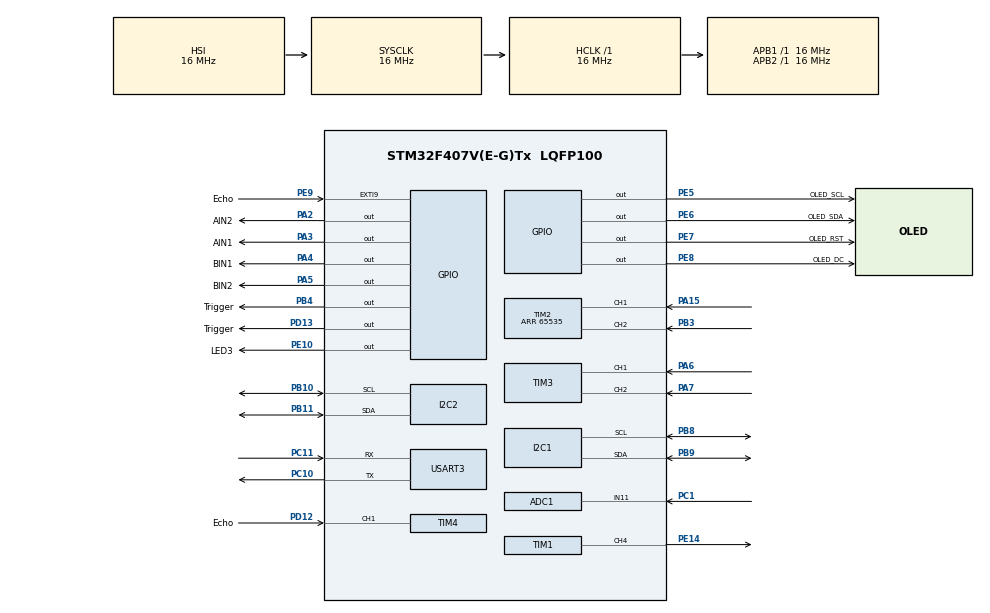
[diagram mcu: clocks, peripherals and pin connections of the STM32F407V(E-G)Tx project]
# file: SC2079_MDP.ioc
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ADC1.Channel-0\#ChannelRegularConversion=ADC_CHANNEL_11
ADC1.Channel-1\#ChannelRegularConversion=ADC_CHANNEL_12
ADC1.ContinuousConvMode=ENABLE
ADC1.NbrOfConversion=2
ADC1.NbrOfConversionFlag=1
ADC1.Rank-0\#ChannelRegularConversion=1
ADC1.Rank-1\#ChannelRegularConversion=2
ADC1.SamplingTime-0\#ChannelRegularConversion=ADC_SAMPLETIME_3CYCLES
ADC1.SamplingTime-1\#ChannelRegularConversion=ADC_SAMPLETIME_3CYCLES
ADC1.master=1
Dma.ADC1.1.Direction=DMA_PERIPH_TO_MEMORY
Dma.ADC1.1.FIFOMode=DMA_FIFOMODE_DISABLE
Dma.ADC1.1.Instance=DMA2_Stream0
Dma.ADC1.1.MemDataAlignment=DMA_MDATAALIGN_HALFWORD
Dma.ADC1.1.MemInc=DMA_MINC_ENABLE
Dma.ADC1.1.Mode=DMA_NORMAL
Dma.ADC1.1.PeriphDataAlignment=DMA_PDATAALIGN_HALFWORD
Dma.ADC1.1.PeriphInc=DMA_PINC_DISABLE
Dma.ADC1.1.Priority=DMA_PRIORITY_LOW
Dma.I2C1_RX.0.Direction=DMA_PERIPH_TO_MEMORY
Dma.I2C1_RX.0.FIFOMode=DMA_FIFOMODE_DISABLE
Dma.I2C1_RX.0.Instance=DMA1_Stream0
Dma.I2C1_RX.0.MemDataAlignment=DMA_MDATAALIGN_BYTE
Dma.I2C1_RX.0.MemInc=DMA_MINC_ENABLE
Dma.I2C1_RX.0.Mode=DMA_NORMAL
Dma.I2C1_RX.0.PeriphDataAlignment=DMA_PDATAALIGN_BYTE
Dma.I2C1_RX.0.PeriphInc=DMA_PINC_DISABLE
Dma.I2C1_RX.0.Priority=DMA_PRIORITY_LOW
Dma.Request0=I2C1_RX
Dma.Request1=ADC1
FREERTOS.Tasks01=defaultTask,24,128,StartDefaultTask,Default,NULL,Dynamic,NULL,NULL;MotorTask,8,512,motor,Default,NULL,Dynamic,NULL,NULL;EncoderTask,8,512,encoder,Default,NULL,Dynamic,NULL,NULL;GyroTask,8,512,Gyro,Default,NULL,Dynamic,NULL,NULL
I2C1.I2C_Mode=I2C_Fast
Mcu.Family=STM32F4
Mcu.Name=STM32F407V(E-G)Tx
Mcu.Package=LQFP100
NVIC.DMA1_Stream0_IRQn=true\:5\:0\:false\:false\:true\:true\:false\:true\:true
NVIC.DMA2_Stream0_IRQn=true\:5\:0\:false\:false\:true\:true\:false\:true\:true
NVIC.PriorityGroup=NVIC_PRIORITYGROUP_4
NVIC.RCC_IRQn=true\:5\:0\:false\:false\:true\:true\:true\:false\:true
NVIC.TIM4_IRQn=true\:5\:0\:false\:false\:true\:true\:true\:true\:true
NVIC.USART3_IRQn=true\:5\:0\:false\:false\:true\:true\:true\:true\:true
PA15.Signal=S_TIM2_CH1_ETR
PA2.GPIO_Label=AIN2
PA2.GPIO_Speed=GPIO_SPEED_FREQ_HIGH
PA2.Signal=GPIO_Output
PA3.GPIO_Label=AIN1
PA3.GPIO_Speed=GPIO_SPEED_FREQ_HIGH
PA3.Signal=GPIO_Output
PA4.GPIO_Label=BIN1
PA4.GPIO_Speed=GPIO_SPEED_FREQ_HIGH
PA4.Signal=GPIO_Output
PA5.GPIO_Label=BIN2
PA5.GPIO_Speed=GPIO_SPEED_FREQ_HIGH
PA5.Signal=GPIO_Output
PA6.Signal=S_TIM3_CH1
PA7.Signal=S_TIM3_CH2
PB10.Mode=I2C
PB10.Signal=I2C2_SCL
PB11.Mode=I2C
PB11.Signal=I2C2_SDA
PB3.Signal=S_TIM2_CH2
PB4.GPIO_Label=Trigger
PB4.Signal=GPIO_Output
PB8.GPIO_Pu=GPIO_PULLUP
PB8.Mode=I2C
PB8.Signal=I2C1_SCL
PB9.GPIO_Pu=GPIO_PULLUP
PB9.Mode=I2C
PB9.Signal=I2C1_SDA
PC1.Signal=ADCx_IN11
PC10.Mode=Asynchronous
PC10.Signal=USART3_TX
PC11.Mode=Asynchronous
PC11.Signal=USART3_RX
PC2.Signal=ADCx_IN12
PC6.GPIO_Label=PWMA
PC6.Signal=S_TIM8_CH1
PC7.GPIO_Label=PWMB
PC7.Signal=S_TIM8_CH2
PD12.GPIO_Label=Echo
PD12.Signal=S_TIM4_CH1
PD13.GPIO_Label=Trigger
PD13.Signal=GPIO_Output
PE10.GPIO_Label=LED3
PE10.Signal=GPIO_Output
PE14.Signal=S_TIM1_CH4
PE5.GPIO_Label=OLED_SCL
PE5.Signal=GPIO_Output
PE6.GPIO_Label=OLED_SDA
PE6.Signal=GPIO_Output
PE7.GPIO_Label=OLED_RST
PE7.Signal=GPIO_Output
PE8.GPIO_Label=OLED_DC
PE8.Signal=GPIO_Output
PE9.GPIO_Label=Echo
PE9.Signal=GPXTI9
PH0-OSC_IN.Mode=HSE-External-Oscillator
PH0-OSC_IN.Signal=RCC_OSC_IN
PH1-OSC_OUT.Mode=HSE-External-Oscillator
PH1-OSC_OUT.Signal=RCC_OSC_OUT
ProjectManager.HeapSize=0x200
ProjectManager.StackSize=0x400
ProjectManager.TargetToolchain=STM32CubeIDE
RCC.AHBFreq_Value=16000000
RCC.APB1Freq_Value=16000000
RCC.APB1TimFreq_Value=16000000
RCC.APB2Freq_Value=16000000
RCC.APB2TimFreq_Value=16000000
RCC.CortexFreq_Value=16000000
RCC.HCLKFreq_Value=16000000
RCC.HSE_VALUE=25000000
RCC.HSI_VALUE=16000000
RCC.LSE_VALUE=32768
RCC.SYSCLKFreq_VALUE=16000000
RCC.VCOOutputFreq_Value=192000000
SH.ADCx_IN11.0=ADC1_IN11,IN11
SH.ADCx_IN12.0=ADC1_IN12
SH.S_TIM1_CH4.0=TIM1_CH4,PWM Generation4 CH4
SH.S_TIM2_CH1_ETR.0=TIM2_CH1,Encoder_Interface
SH.S_TIM2_CH2.0=TIM2_CH2,Encoder_Interface
SH.S_TIM3_CH1.0=TIM3_CH1,Encoder_Interface
SH.S_TIM3_CH2.0=TIM3_CH2,Encoder_Interface
SH.S_TIM4_CH1.0=TIM4_CH1,Input_Capture1_from_TI1
SH.S_TIM8_CH1.0=TIM8_CH1
SH.S_TIM8_CH2.0=TIM8_CH2
TIM1.Channel-PWM\ Generation4\ CH4=TIM_CHANNEL_4
TIM1.Prescaler=160
TIM2.EncoderMode=TIM_ENCODERMODE_TI12
TIM2.IC1Filter=10
TIM2.IC2Filter=10
TIM2.Period=65535
TIM3.EncoderMode=TIM_ENCODERMODE_TI12
TIM3.IC1Filter=10
TIM3.IC2Filter=10
TIM4.Channel-Input_Capture1_from_TI1=TIM_CHANNEL_1
TIM4.Prescaler=72-1
TIM8.Channel-PWM\ Generation1\ No\ Output=TIM_CHANNEL_1
TIM8.Channel-PWM\ Generation2\ No\ Output=TIM_CHANNEL_2
TIM8.Period=7199
USART3.VirtualMode=VM_ASYNC
VP_FREERTOS_VS_CMSIS_V2.Mode=CMSIS_V2
VP_TIM6_VS_ClockSourceINT.Mode=Enable_Timer
VP_TIM8_VS_ClockSourceINT.Mode=Internal
VP_TIM8_VS_no_output1.Mode=PWM Generation1 No Output
VP_TIM8_VS_no_output2.Mode=PWM Generation2 No Output
board=custom

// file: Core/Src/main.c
/* USER CODE BEGIN Header */
/**
  ******************************************************************************
  * @file           : main.c
  * @brief          : Main program body
  ******************************************************************************
  * @attention
  *
  * Copyright (c) 2024 STMicroelectronics.
  * All rights reserved.
  *
  * This software is licensed under terms that can be found in the LICENSE file
  * in the root directory of this software component.
  * If no LICENSE file comes with this software, it is provided AS-IS.
  *
  ******************************************************************************
  */
/* USER CODE END Header */
#include "main.h"
#include "cmsis_os.h"

/* USER CODE BEGIN Includes */
#include "oled.h"
#include "math.h"

/* USER CODE END Includes */

/* USER CODE BEGIN PD */

/// Movement controls ///
#define RPM_LEFT 3500
#define RPM_RIGHT 3500

// Voltage for IR
#define ADC_REF 3.3

// Resolution for IR
#define ADC_STEPS 4096
volatile uint8_t motionCommand = 0;
volatile uint8_t dirCommand = 0;
volatile uint8_t distCommand = 0;
volatile uint8_t commandReceivedFlag = 0;
typedef struct{
	I2C_HandleTypeDef *i2cHandle;
	UART_HandleTypeDef *uart;
	int16_t gyro;
	float gyroYaw;
}IMU_Data;
IMU_Data imu;

/* USER CODE END PD */

/* USER CODE BEGIN PM */
I2C_HandleTypeDef hi2c1;
/* USER CODE END PM */

ADC_HandleTypeDef hadc1;
DMA_HandleTypeDef hdma_adc1;

I2C_HandleTypeDef hi2c1;
I2C_HandleTypeDef hi2c2;
DMA_HandleTypeDef hdma_i2c1_rx;

TIM_HandleTypeDef htim1;
TIM_HandleTypeDef htim2;
TIM_HandleTypeDef htim3;
TIM_HandleTypeDef htim4;
TIM_HandleTypeDef htim6;
TIM_HandleTypeDef htim8;

UART_HandleTypeDef huart3;

/* Definitions for defaultTask */
osThreadId_t defaultTaskHandle;
const osThreadAttr_t defaultTask_attributes = {
  .name = "defaultTask",
  .stack_size = 128 * 4,
  .priority = (osPriority_t) osPriorityNormal,
};
/* Definitions for MotorTask */
osThreadId_t MotorTaskHandle;
const osThreadAttr_t MotorTask_attributes = {
  .name = "MotorTask",
  .stack_size = 512 * 4,
  .priority = (osPriority_t) osPriorityLow,
};
/* Definitions for EncoderTask */
osThreadId_t EncoderTaskHandle;
const osThreadAttr_t EncoderTask_attributes = {
  .name = "EncoderTask",
  .stack_size = 512 * 4,
  .priority = (osPriority_t) osPriorityLow,
};
/* Definitions for GyroTask */
osThreadId_t GyroTaskHandle;
const osThreadAttr_t GyroTask_attributes = {
  .name = "GyroTask",
  .stack_size = 512 * 4,
  .priority = (osPriority_t) osPriorityLow,
};
/* USER CODE BEGIN PV */
// Comms
uint8_t uartRxBuffer[5]; // UART receive buffer
uint8_t oledBuffer[20]; // Gyro receive buffer

osMessageQueueId_t motorCommandQueueHandle;
const osMessageQueueAttr_t motorCommandQueue_attributes = {
  .name = "motorCommandQueue"
};

/* USER CODE END PV */

void SystemClock_Config(void);
static void MX_GPIO_Init(void);
static void MX_DMA_Init(void);
static void MX_TIM8_Init(void);
static void MX_TIM2_Init(void);
static void MX_TIM3_Init(void);
static void MX_TIM1_Init(void);
static void MX_TIM6_Init(void);
static void MX_USART3_UART_Init(void);
static void MX_I2C1_Init(void);
static void MX_I2C2_Init(void);
static void MX_TIM4_Init(void);
static void MX_ADC1_Init(void);
void StartDefaultTask(void *argument);
void motor(void *argument);
void encoder(void *argument);
void Gyro(void *argument);

/* USER CODE BEGIN PFP */
float adjustServoToCenter(float, float);

// For IMU and gyro
HAL_StatusTypeDef ret;
HAL_StatusTypeDef IMU_WriteOneByte(IMU_Data *dev, uint8_t reg, uint8_t data);
HAL_StatusTypeDef IMU_ReadOneByte(IMU_Data *dev, uint8_t reg, uint8_t *data);
uint8_t * IMU_Initialise(IMU_Data *dev, I2C_HandleTypeDef *i2cHandle, UART_HandleTypeDef *uart);
float yawAngle = 0;
volatile uint8_t dma_transfer_complete = 0;
uint8_t rawData[2];

/* USER CODE END PFP */

/* USER CODE BEGIN 0 */

// For Ultrasonic
uint32_t IC_Val1 = 0;
uint32_t IC_Val2 = 0;
uint32_t echo = 0;	// For storing the echo pulse duration
uint8_t Is_First_Captured = 0;  // is the first value captured ? A flag to ensure that both cases are accounted for
uint32_t Distance  = 0;	// For storing the distance

// For Motor
int initialPwmValue = 0;
int encoderL = 0, encoderR = 0;
int pwmValL = 0;
int pwmValR = 0;

// Directions
uint16_t pwmVal_servo = 139;

// Gyro
uint8_t ICMAddress = 0x68;

// imu registers
#define GYRO_ZOUT_H 0x37
#define GYRO_ZOUT_L 0x38
#define REG_BANK_SEL 0x7F
#define IMU_ADDR	(0x68 << 1)
#define GYRO_CONFIG_1	(0x01)
#define GYRO_CONFIG_2  (0x02)
#define ACCEL_CONFIG	(0x14)
#define ACCEL_CONFIG_2  (0x15)
#define PWR_MGMT_1 0x06
#define PWR_MGMT_2	0x07
#define LP_CONFIG	0x05
#define REG_WHO_AM_I 0x00
#define USER_CTRL  0x03
#define GYRO_SMPLRT_DIV 0x00
static uint32_t time_elapsed = 0x00;
static uint32_t prev_time_elapsed = 0x00;
static uint32_t time_difference = 0x00;
int16_t Data;
float targetAngle = 90.0;

// IR Sensor
volatile uint16_t adcResult[20];
volatile uint16_t ir_left;
volatile uint16_t ir_right;

/* USER CODE END 0 */

int main(void)
{
  /* USER CODE BEGIN 1 */
//	uint8_t hello[20] = "Hello World!\0";
//	int dist = 0;	// For storing the distance

  /* USER CODE END 1 */

  /* MCU Configuration--------------------------------------------------------*/

  /* Reset of all peripherals, Initializes the Flash interface and the Systick. */
  HAL_Init();

  /* Configure the system clock */
  SystemClock_Config();

  /* Initialize all configured peripherals */
  MX_GPIO_Init();
  MX_DMA_Init();
  MX_TIM8_Init();
  MX_TIM2_Init();
  MX_TIM3_Init();
  MX_TIM1_Init();
  MX_TIM6_Init();
  MX_USART3_UART_Init();
  MX_I2C1_Init();
  MX_I2C2_Init();
  MX_TIM4_Init();
  MX_ADC1_Init();
  /* USER CODE BEGIN 2 */
  OLED_Init();
  /* USER CODE END 2 */

  /* Init scheduler */
  osKernelInitialize();

  /* Create the thread(s) */
  /* creation of defaultTask */
  defaultTaskHandle = osThreadNew(StartDefaultTask, NULL, &defaultTask_attributes);

  /* creation of MotorTask */
  MotorTaskHandle = osThreadNew(motor, NULL, &MotorTask_attributes);

  /* creation of EncoderTask */
  EncoderTaskHandle = osThreadNew(encoder, NULL, &EncoderTask_attributes);

  /* creation of GyroTask */
  GyroTaskHandle = osThreadNew(Gyro, NULL, &GyroTask_attributes);

  /* Start scheduler */
  osKernelStart();

  /* We should never get here as control is now taken by the scheduler */
  /* Infinite loop */
  while (1)
  {

  }
}

void SystemClock_Config(void)
{
  RCC_OscInitTypeDef RCC_OscInitStruct = {0};
  RCC_ClkInitTypeDef RCC_ClkInitStruct = {0};

  /** Configure the main internal regulator output voltage
  */
  __HAL_RCC_PWR_CLK_ENABLE();
  __HAL_PWR_VOLTAGESCALING_CONFIG(PWR_REGULATOR_VOLTAGE_SCALE1);

  /** Initializes the RCC Oscillators according to the specified parameters
  * in the RCC_OscInitTypeDef structure.
  */
  RCC_OscInitStruct.OscillatorType = RCC_OSCILLATORTYPE_HSI;
  RCC_OscInitStruct.HSIState = RCC_HSI_ON;
  RCC_OscInitStruct.HSICalibrationValue = RCC_HSICALIBRATION_DEFAULT;
  RCC_OscInitStruct.PLL.PLLState = RCC_PLL_NONE;
  if (HAL_RCC_OscConfig(&RCC_OscInitStruct) != HAL_OK)
  {
    Error_Handler();
  }

  /** Initializes the CPU, AHB and APB buses clocks
  */
  RCC_ClkInitStruct.ClockType = RCC_CLOCKTYPE_HCLK|RCC_CLOCKTYPE_SYSCLK
                              |RCC_CLOCKTYPE_PCLK1|RCC_CLOCKTYPE_PCLK2;
  RCC_ClkInitStruct.SYSCLKSource = RCC_SYSCLKSOURCE_HSI;
  RCC_ClkInitStruct.AHBCLKDivider = RCC_SYSCLK_DIV1;
  RCC_ClkInitStruct.APB1CLKDivider = RCC_HCLK_DIV1;
  RCC_ClkInitStruct.APB2CLKDivider = RCC_HCLK_DIV1;

  if (HAL_RCC_ClockConfig(&RCC_ClkInitStruct, FLASH_LATENCY_0) != HAL_OK)
  {
    Error_Handler();
  }
}

static void MX_ADC1_Init(void)
{

  ADC_ChannelConfTypeDef sConfig = {0};

  /** Configure the global features of the ADC (Clock, Resolution, Data Alignment and number of conversion)
  */
  hadc1.Instance = ADC1;
  hadc1.Init.ClockPrescaler = ADC_CLOCK_SYNC_PCLK_DIV2;
  hadc1.Init.Resolution = ADC_RESOLUTION_12B;
  hadc1.Init.ScanConvMode = ENABLE;
  hadc1.Init.ContinuousConvMode = ENABLE;
  hadc1.Init.DiscontinuousConvMode = DISABLE;
  hadc1.Init.ExternalTrigConvEdge = ADC_EXTERNALTRIGCONVEDGE_NONE;
  hadc1.Init.ExternalTrigConv = ADC_SOFTWARE_START;
  hadc1.Init.DataAlign = ADC_DATAALIGN_RIGHT;
  hadc1.Init.NbrOfConversion = 2;
  hadc1.Init.DMAContinuousRequests = DISABLE;
  hadc1.Init.EOCSelection = ADC_EOC_SINGLE_CONV;
  if (HAL_ADC_Init(&hadc1) != HAL_OK)
  {
    Error_Handler();
  }

  /** Configure for the selected ADC regular channel its corresponding rank in the sequencer and its sample time.
  */
  sConfig.Channel = ADC_CHANNEL_11;
  sConfig.Rank = 1;
  sConfig.SamplingTime = ADC_SAMPLETIME_3CYCLES;
  if (HAL_ADC_ConfigChannel(&hadc1, &sConfig) != HAL_OK)
  {
    Error_Handler();
  }

  /** Configure for the selected ADC regular channel its corresponding rank in the sequencer and its sample time.
  */
  sConfig.Channel = ADC_CHANNEL_12;
  sConfig.Rank = 2;
  if (HAL_ADC_ConfigChannel(&hadc1, &sConfig) != HAL_OK)
  {
    Error_Handler();
  }

}

static void MX_I2C1_Init(void)
{

  hi2c1.Instance = I2C1;
  hi2c1.Init.ClockSpeed = 400000;
  hi2c1.Init.DutyCycle = I2C_DUTYCYCLE_2;
  hi2c1.Init.OwnAddress1 = 0;
  hi2c1.Init.AddressingMode = I2C_ADDRESSINGMODE_7BIT;
  hi2c1.Init.DualAddressMode = I2C_DUALADDRESS_DISABLE;
  hi2c1.Init.OwnAddress2 = 0;
  hi2c1.Init.GeneralCallMode = I2C_GENERALCALL_DISABLE;
  hi2c1.Init.NoStretchMode = I2C_NOSTRETCH_DISABLE;
  if (HAL_I2C_Init(&hi2c1) != HAL_OK)
  {
    Error_Handler();
  }

}

static void MX_I2C2_Init(void)
{

  hi2c2.Instance = I2C2;
  hi2c2.Init.ClockSpeed = 100000;
  hi2c2.Init.DutyCycle = I2C_DUTYCYCLE_2;
  hi2c2.Init.OwnAddress1 = 0;
  hi2c2.Init.AddressingMode = I2C_ADDRESSINGMODE_7BIT;
  hi2c2.Init.DualAddressMode = I2C_DUALADDRESS_DISABLE;
  hi2c2.Init.OwnAddress2 = 0;
  hi2c2.Init.GeneralCallMode = I2C_GENERALCALL_DISABLE;
  hi2c2.Init.NoStretchMode = I2C_NOSTRETCH_DISABLE;
  if (HAL_I2C_Init(&hi2c2) != HAL_OK)
  {
    Error_Handler();
  }

}

static void MX_TIM1_Init(void)
{

  TIM_MasterConfigTypeDef sMasterConfig = {0};
  TIM_OC_InitTypeDef sConfigOC = {0};
  TIM_BreakDeadTimeConfigTypeDef sBreakDeadTimeConfig = {0};

  htim1.Instance = TIM1;
  htim1.Init.Prescaler = 160;
  htim1.Init.CounterMode = TIM_COUNTERMODE_UP;
  htim1.Init.Period = 65535;
  htim1.Init.ClockDivision = TIM_CLOCKDIVISION_DIV1;
  htim1.Init.RepetitionCounter = 0;
  htim1.Init.AutoReloadPreload = TIM_AUTORELOAD_PRELOAD_DISABLE;
  if (HAL_TIM_PWM_Init(&htim1) != HAL_OK)
  {
    Error_Handler();
  }
  sMasterConfig.MasterOutputTrigger = TIM_TRGO_RESET;
  sMasterConfig.MasterSlaveMode = TIM_MASTERSLAVEMODE_DISABLE;
  if (HAL_TIMEx_MasterConfigSynchronization(&htim1, &sMasterConfig) != HAL_OK)
  {
    Error_Handler();
  }
  sConfigOC.OCMode = TIM_OCMODE_PWM1;
  sConfigOC.Pulse = 0;
  sConfigOC.OCPolarity = TIM_OCPOLARITY_HIGH;
  sConfigOC.OCFastMode = TIM_OCFAST_DISABLE;
  sConfigOC.OCIdleState = TIM_OCIDLESTATE_RESET;
  sConfigOC.OCNIdleState = TIM_OCNIDLESTATE_RESET;
  if (HAL_TIM_PWM_ConfigChannel(&htim1, &sConfigOC, TIM_CHANNEL_4) != HAL_OK)
  {
    Error_Handler();
  }
  sBreakDeadTimeConfig.OffStateRunMode = TIM_OSSR_DISABLE;
  sBreakDeadTimeConfig.OffStateIDLEMode = TIM_OSSI_DISABLE;
  sBreakDeadTimeConfig.LockLevel = TIM_LOCKLEVEL_OFF;
  sBreakDeadTimeConfig.DeadTime = 0;
  sBreakDeadTimeConfig.BreakState = TIM_BREAK_DISABLE;
  sBreakDeadTimeConfig.BreakPolarity = TIM_BREAKPOLARITY_HIGH;
  sBreakDeadTimeConfig.AutomaticOutput = TIM_AUTOMATICOUTPUT_DISABLE;
  if (HAL_TIMEx_ConfigBreakDeadTime(&htim1, &sBreakDeadTimeConfig) != HAL_OK)
  {
    Error_Handler();
  }
  HAL_TIM_MspPostInit(&htim1);

}

static void MX_TIM2_Init(void)
{

  TIM_Encoder_InitTypeDef sConfig = {0};
  TIM_MasterConfigTypeDef sMasterConfig = {0};

  htim2.Instance = TIM2;
  htim2.Init.Prescaler = 0;
  htim2.Init.CounterMode = TIM_COUNTERMODE_UP;
  htim2.Init.Period = 65535;
  htim2.Init.ClockDivision = TIM_CLOCKDIVISION_DIV1;
  htim2.Init.AutoReloadPreload = TIM_AUTORELOAD_PRELOAD_DISABLE;
  sConfig.EncoderMode = TIM_ENCODERMODE_TI12;
  sConfig.IC1Polarity = TIM_ICPOLARITY_RISING;
  sConfig.IC1Selection = TIM_ICSELECTION_DIRECTTI;
  sConfig.IC1Prescaler = TIM_ICPSC_DIV1;
  sConfig.IC1Filter = 10;
  sConfig.IC2Polarity = TIM_ICPOLARITY_RISING;
  sConfig.IC2Selection = TIM_ICSELECTION_DIRECTTI;
  sConfig.IC2Prescaler = TIM_ICPSC_DIV1;
  sConfig.IC2Filter = 10;
  if (HAL_TIM_Encoder_Init(&htim2, &sConfig) != HAL_OK)
  {
    Error_Handler();
  }
  sMasterConfig.MasterOutputTrigger = TIM_TRGO_RESET;
  sMasterConfig.MasterSlaveMode = TIM_MASTERSLAVEMODE_DISABLE;
  if (HAL_TIMEx_MasterConfigSynchronization(&htim2, &sMasterConfig) != HAL_OK)
  {
    Error_Handler();
  }

}

static void MX_TIM3_Init(void)
{

  TIM_Encoder_InitTypeDef sConfig = {0};
  TIM_MasterConfigTypeDef sMasterConfig = {0};

  htim3.Instance = TIM3;
  htim3.Init.Prescaler = 0;
  htim3.Init.CounterMode = TIM_COUNTERMODE_UP;
  htim3.Init.Period = 65535;
  htim3.Init.ClockDivision = TIM_CLOCKDIVISION_DIV1;
  htim3.Init.AutoReloadPreload = TIM_AUTORELOAD_PRELOAD_DISABLE;
  sConfig.EncoderMode = TIM_ENCODERMODE_TI12;
  sConfig.IC1Polarity = TIM_ICPOLARITY_RISING;
  sConfig.IC1Selection = TIM_ICSELECTION_DIRECTTI;
  sConfig.IC1Prescaler = TIM_ICPSC_DIV1;
  sConfig.IC1Filter = 10;
  sConfig.IC2Polarity = TIM_ICPOLARITY_RISING;
  sConfig.IC2Selection = TIM_ICSELECTION_DIRECTTI;
  sConfig.IC2Prescaler = TIM_ICPSC_DIV1;
  sConfig.IC2Filter = 10;
  if (HAL_TIM_Encoder_Init(&htim3, &sConfig) != HAL_OK)
  {
    Error_Handler();
  }
  sMasterConfig.MasterOutputTrigger = TIM_TRGO_RESET;
  sMasterConfig.MasterSlaveMode = TIM_MASTERSLAVEMODE_DISABLE;
  if (HAL_TIMEx_MasterConfigSynchronization(&htim3, &sMasterConfig) != HAL_OK)
  {
    Error_Handler();
  }

}

static void MX_TIM4_Init(void)
{

  TIM_MasterConfigTypeDef sMasterConfig = {0};
  TIM_IC_InitTypeDef sConfigIC = {0};

  htim4.Instance = TIM4;
  htim4.Init.Prescaler = 72-1;
  htim4.Init.CounterMode = TIM_COUNTERMODE_UP;
  htim4.Init.Period = 65535;
  htim4.Init.ClockDivision = TIM_CLOCKDIVISION_DIV1;
  htim4.Init.AutoReloadPreload = TIM_AUTORELOAD_PRELOAD_DISABLE;
  if (HAL_TIM_IC_Init(&htim4) != HAL_OK)
  {
    Error_Handler();
  }
  sMasterConfig.MasterOutputTrigger = TIM_TRGO_RESET;
  sMasterConfig.MasterSlaveMode = TIM_MASTERSLAVEMODE_DISABLE;
  if (HAL_TIMEx_MasterConfigSynchronization(&htim4, &sMasterConfig) != HAL_OK)
  {
    Error_Handler();
  }
  sConfigIC.ICPolarity = TIM_INPUTCHANNELPOLARITY_RISING;
  sConfigIC.ICSelection = TIM_ICSELECTION_DIRECTTI;
  sConfigIC.ICPrescaler = TIM_ICPSC_DIV1;
  sConfigIC.ICFilter = 0;
  if (HAL_TIM_IC_ConfigChannel(&htim4, &sConfigIC, TIM_CHANNEL_1) != HAL_OK)
  {
    Error_Handler();
  }

}

static void MX_TIM6_Init(void)
{

  TIM_MasterConfigTypeDef sMasterConfig = {0};

  htim6.Instance = TIM6;
  htim6.Init.Prescaler = 0;
  htim6.Init.CounterMode = TIM_COUNTERMODE_UP;
  htim6.Init.Period = 65535;
  htim6.Init.AutoReloadPreload = TIM_AUTORELOAD_PRELOAD_DISABLE;
  if (HAL_TIM_Base_Init(&htim6) != HAL_OK)
  {
    Error_Handler();
  }
  sMasterConfig.MasterOutputTrigger = TIM_TRGO_RESET;
  sMasterConfig.MasterSlaveMode = TIM_MASTERSLAVEMODE_DISABLE;
  if (HAL_TIMEx_MasterConfigSynchronization(&htim6, &sMasterConfig) != HAL_OK)
  {
    Error_Handler();
  }

}

static void MX_TIM8_Init(void)
{

  TIM_ClockConfigTypeDef sClockSourceConfig = {0};
  TIM_MasterConfigTypeDef sMasterConfig = {0};
  TIM_OC_InitTypeDef sConfigOC = {0};
  TIM_BreakDeadTimeConfigTypeDef sBreakDeadTimeConfig = {0};

  htim8.Instance = TIM8;
  htim8.Init.Prescaler = 0;
  htim8.Init.CounterMode = TIM_COUNTERMODE_UP;
  htim8.Init.Period = 7199;
  htim8.Init.ClockDivision = TIM_CLOCKDIVISION_DIV1;
  htim8.Init.RepetitionCounter = 0;
  htim8.Init.AutoReloadPreload = TIM_AUTORELOAD_PRELOAD_DISABLE;
  if (HAL_TIM_Base_Init(&htim8) != HAL_OK)
  {
    Error_Handler();
  }
  sClockSourceConfig.ClockSource = TIM_CLOCKSOURCE_INTERNAL;
  if (HAL_TIM_ConfigClockSource(&htim8, &sClockSourceConfig) != HAL_OK)
  {
    Error_Handler();
  }
  if (HAL_TIM_PWM_Init(&htim8) != HAL_OK)
  {
    Error_Handler();
  }
  sMasterConfig.MasterOutputTrigger = TIM_TRGO_RESET;
  sMasterConfig.MasterSlaveMode = TIM_MASTERSLAVEMODE_DISABLE;
  if (HAL_TIMEx_MasterConfigSynchronization(&htim8, &sMasterConfig) != HAL_OK)
  {
    Error_Handler();
  }
  sConfigOC.OCMode = TIM_OCMODE_PWM1;
  sConfigOC.Pulse = 0;
  sConfigOC.OCPolarity = TIM_OCPOLARITY_HIGH;
  sConfigOC.OCNPolarity = TIM_OCNPOLARITY_HIGH;
  sConfigOC.OCFastMode = TIM_OCFAST_DISABLE;
  sConfigOC.OCIdleState = TIM_OCIDLESTATE_RESET;
  sConfigOC.OCNIdleState = TIM_OCNIDLESTATE_RESET;
  if (HAL_TIM_PWM_ConfigChannel(&htim8, &sConfigOC, TIM_CHANNEL_1) != HAL_OK)
  {
    Error_Handler();
  }
  if (HAL_TIM_PWM_ConfigChannel(&htim8, &sConfigOC, TIM_CHANNEL_2) != HAL_OK)
  {
    Error_Handler();
  }
  sBreakDeadTimeConfig.OffStateRunMode = TIM_OSSR_DISABLE;
  sBreakDeadTimeConfig.OffStateIDLEMode = TIM_OSSI_DISABLE;
  sBreakDeadTimeConfig.LockLevel = TIM_LOCKLEVEL_OFF;
  sBreakDeadTimeConfig.DeadTime = 0;
  sBreakDeadTimeConfig.BreakState = TIM_BREAK_DISABLE;
  sBreakDeadTimeConfig.BreakPolarity = TIM_BREAKPOLARITY_HIGH;
  sBreakDeadTimeConfig.AutomaticOutput = TIM_AUTOMATICOUTPUT_DISABLE;
  if (HAL_TIMEx_ConfigBreakDeadTime(&htim8, &sBreakDeadTimeConfig) != HAL_OK)
  {
    Error_Handler();
  }

}

static void MX_USART3_UART_Init(void)
{

  huart3.Instance = USART3;
  huart3.Init.BaudRate = 115200;
  huart3.Init.WordLength = UART_WORDLENGTH_8B;
  huart3.Init.StopBits = UART_STOPBITS_1;
  huart3.Init.Parity = UART_PARITY_NONE;
  huart3.Init.Mode = UART_MODE_TX_RX;
  huart3.Init.HwFlowCtl = UART_HWCONTROL_NONE;
  huart3.Init.OverSampling = UART_OVERSAMPLING_16;
  if (HAL_UART_Init(&huart3) != HAL_OK)
  {
    Error_Handler();
  }

}

static void MX_DMA_Init(void)
{

  /* DMA controller clock enable */
  __HAL_RCC_DMA1_CLK_ENABLE();
  __HAL_RCC_DMA2_CLK_ENABLE();

  /* DMA interrupt init */
  /* DMA1_Stream0_IRQn interrupt configuration */
  HAL_NVIC_SetPriority(DMA1_Stream0_IRQn, 5, 0);
  HAL_NVIC_EnableIRQ(DMA1_Stream0_IRQn);
  /* DMA2_Stream0_IRQn interrupt configuration */
  HAL_NVIC_SetPriority(DMA2_Stream0_IRQn, 5, 0);
  HAL_NVIC_EnableIRQ(DMA2_Stream0_IRQn);

}

static void MX_GPIO_Init(void)
{
  GPIO_InitTypeDef GPIO_InitStruct = {0};

  /* GPIO Ports Clock Enable */
  __HAL_RCC_GPIOE_CLK_ENABLE();
  __HAL_RCC_GPIOH_CLK_ENABLE();
  __HAL_RCC_GPIOC_CLK_ENABLE();
  __HAL_RCC_GPIOA_CLK_ENABLE();
  __HAL_RCC_GPIOB_CLK_ENABLE();
  __HAL_RCC_GPIOD_CLK_ENABLE();

  /*Configure GPIO pin Output Level */
  HAL_GPIO_WritePin(GPIOE, OLED_SCL_Pin|OLED_SDA_Pin|OLED_RST_Pin|OLED_DC_Pin
                          |LED3_Pin, GPIO_PIN_RESET);

  /*Configure GPIO pin Output Level */
  HAL_GPIO_WritePin(GPIOA, AIN2_Pin|AIN1_Pin|BIN1_Pin|BIN2_Pin, GPIO_PIN_RESET);

  /*Configure GPIO pin Output Level */
  HAL_GPIO_WritePin(Trigger_GPIO_Port, Trigger_Pin, GPIO_PIN_RESET);

  /*Configure GPIO pin Output Level */
  HAL_GPIO_WritePin(TriggerB4_GPIO_Port, TriggerB4_Pin, GPIO_PIN_RESET);

  /*Configure GPIO pins : OLED_SCL_Pin OLED_SDA_Pin OLED_RST_Pin OLED_DC_Pin
                           LED3_Pin */
  GPIO_InitStruct.Pin = OLED_SCL_Pin|OLED_SDA_Pin|OLED_RST_Pin|OLED_DC_Pin
                          |LED3_Pin;
  GPIO_InitStruct.Mode = GPIO_MODE_OUTPUT_PP;
  GPIO_InitStruct.Pull = GPIO_NOPULL;
  GPIO_InitStruct.Speed = GPIO_SPEED_FREQ_LOW;
  HAL_GPIO_Init(GPIOE, &GPIO_InitStruct);

  /*Configure GPIO pins : AIN2_Pin AIN1_Pin BIN1_Pin BIN2_Pin */
  GPIO_InitStruct.Pin = AIN2_Pin|AIN1_Pin|BIN1_Pin|BIN2_Pin;
  GPIO_InitStruct.Mode = GPIO_MODE_OUTPUT_PP;
  GPIO_InitStruct.Pull = GPIO_NOPULL;
  GPIO_InitStruct.Speed = GPIO_SPEED_FREQ_HIGH;
  HAL_GPIO_Init(GPIOA, &GPIO_InitStruct);

  /*Configure GPIO pin : Echo_Pin */
  GPIO_InitStruct.Pin = Echo_Pin;
  GPIO_InitStruct.Mode = GPIO_MODE_IT_RISING;
  GPIO_InitStruct.Pull = GPIO_NOPULL;
  HAL_GPIO_Init(Echo_GPIO_Port, &GPIO_InitStruct);

  /*Configure GPIO pin : Trigger_Pin */
  GPIO_InitStruct.Pin = Trigger_Pin;
  GPIO_InitStruct.Mode = GPIO_MODE_OUTPUT_PP;
  GPIO_InitStruct.Pull = GPIO_NOPULL;
  GPIO_InitStruct.Speed = GPIO_SPEED_FREQ_LOW;
  HAL_GPIO_Init(Trigger_GPIO_Port, &GPIO_InitStruct);

  /*Configure GPIO pin : TriggerB4_Pin */
  GPIO_InitStruct.Pin = TriggerB4_Pin;
  GPIO_InitStruct.Mode = GPIO_MODE_OUTPUT_PP;
  GPIO_InitStruct.Pull = GPIO_NOPULL;
  GPIO_InitStruct.Speed = GPIO_SPEED_FREQ_LOW;
  HAL_GPIO_Init(TriggerB4_GPIO_Port, &GPIO_InitStruct);

}

/* USER CODE BEGIN 4 */

// Callback Function where the interrupt will go to
void HAL_UART_RxCpltCallback(UART_HandleTypeDef *huart)
{

	if (huart->Instance == USART3) {
	        motionCommand = uartRxBuffer[0]; // Store the motion (forward/backward/stop; set rotation mode)
	        dirCommand = uartRxBuffer[1]; // Store the direction (left/center/right)
	        distCommand = ((int) (uartRxBuffer[2]) - 48) * 100
					+ ((int) (uartRxBuffer[3]) - 48) * 10
					+ ((int) (uartRxBuffer[4]) - 48);// Store the distance (cm) / angle (degree) (format: 000)
	        commandReceivedFlag = 1;           // Set the flag to indicate a new command has been received

	        // Re-enable UART receive interrupt for the next command
	        HAL_UART_Receive_IT(&huart3, uartRxBuffer, 5);
	    }

}

// Gyro
uint8_t * IMU_Initialise(IMU_Data *dev, I2C_HandleTypeDef *i2cHandle, UART_HandleTypeDef *uart){
	char hex[2];
	uint8_t uartbuf[20] = "  IMU ID =    "; //buffer for data
	uint8_t regData;
	dev->i2cHandle = i2cHandle;
	dev->uart = uart;
	ret = IMU_ReadOneByte(dev, REG_WHO_AM_I, &regData);
	ret = IMU_WriteOneByte(dev, REG_BANK_SEL, 0x00);
	ret = IMU_WriteOneByte(dev, USER_CTRL, 0x20);
	ret = IMU_WriteOneByte(dev, PWR_MGMT_1, 0x09);
	ret = IMU_WriteOneByte(dev, PWR_MGMT_2, 0x3E);
	ret = IMU_WriteOneByte(dev, LP_CONFIG, 0x40);
	ret = IMU_WriteOneByte(dev, USER_CTRL, 0x00);
	ret = IMU_WriteOneByte(dev, REG_BANK_SEL, 0x20);
	ret = IMU_WriteOneByte(dev, GYRO_CONFIG_1, 0x39);
	ret = IMU_WriteOneByte(dev, GYRO_CONFIG_2, 0x00);
	ret = IMU_WriteOneByte(dev, ACCEL_CONFIG, 0x39);
	ret = IMU_WriteOneByte(dev, ACCEL_CONFIG_2, 0x00);
	ret = IMU_WriteOneByte(dev, GYRO_SMPLRT_DIV, 0x08); // this
	ret = IMU_WriteOneByte(dev, REG_BANK_SEL, 0x00); 	//go back to bank 0
	HAL_Delay(10);
	return 0;

}
HAL_StatusTypeDef IMU_ReadOneByte(IMU_Data *dev, uint8_t reg, uint8_t *data)
{
	ret=HAL_I2C_Mem_Read(dev->i2cHandle, IMU_ADDR, reg, I2C_MEMADD_SIZE_8BIT, data, I2C_MEMADD_SIZE_8BIT, HAL_MAX_DELAY);
	return ret;
}

HAL_StatusTypeDef IMU_WriteOneByte(IMU_Data *dev, uint8_t reg, uint8_t data)
{
	 uint8_t regData = data;
	 return HAL_I2C_Mem_Write(dev->i2cHandle, IMU_ADDR, reg, I2C_MEMADD_SIZE_8BIT, &regData, 1, HAL_MAX_DELAY);
}

void HAL_I2C_MemRxCpltCallback(I2C_HandleTypeDef *hi2c) {

    if (hi2c->Instance == I2C1) {
        // DMA transfer completed
    	dma_transfer_complete = 2;
    }
}

void turnLeft(float targetAngle, int dirBack){
	float finalAngle = targetAngle;
  htim1.Instance->CCR4 = 90;
	encoderL = 0;
	encoderR = 0;
	int left=0, right=0;
  HAL_Delay(800); osDelay(800);
  //forward
  if (dirBack==0){
	  right=2800;left=300;
	  HAL_GPIO_WritePin(GPIOA, AIN1_Pin, GPIO_PIN_RESET);   // Assuming AIN1 is forward for motor 1
	  HAL_GPIO_WritePin(GPIOA, AIN2_Pin, GPIO_PIN_SET); // Assuming AIN2 is backward for motor 1
	  HAL_GPIO_WritePin(GPIOA, BIN1_Pin, GPIO_PIN_RESET);   // Assuming BIN1 is forward for motor 2
	  HAL_GPIO_WritePin(GPIOA, BIN2_Pin, GPIO_PIN_SET); // Assuming BIN2 is backward for motor 2
	  while(1){
		  __HAL_TIM_SetCompare(&htim8, TIM_CHANNEL_1, right);
		  __HAL_TIM_SetCompare(&htim8, TIM_CHANNEL_2, left);
		  osDelay(10);
  		  if (encoderR>=(int)(finalAngle*23.22*0.9)){
  			  right=1000;left=0;
  		  }
  		  if (encoderR>=(int)(finalAngle*23.22))break;
  	  }
  }
  //backward
  else if (dirBack==1){
	  right=2600;left=300;
	  HAL_GPIO_WritePin(GPIOA, AIN1_Pin, GPIO_PIN_SET); // Assuming AIN1 is forward for motor 1
	  HAL_GPIO_WritePin(GPIOA, AIN2_Pin, GPIO_PIN_RESET);   // Assuming AIN2 is backward for motor 1
	  HAL_GPIO_WritePin(GPIOA, BIN1_Pin, GPIO_PIN_SET); // Assuming BIN1 is forward for motor 2
	  HAL_GPIO_WritePin(GPIOA, BIN2_Pin, GPIO_PIN_RESET);   // Assuming BIN2 is backward for motor 2
  	  while(1){
  		  __HAL_TIM_SetCompare(&htim8, TIM_CHANNEL_1, right);
  		  __HAL_TIM_SetCompare(&htim8, TIM_CHANNEL_2, left);
  		  osDelay(10);
  		  if (encoderR>=(int)(finalAngle*20.57*0.9)){
  			  right=1000;left=0;
  		  }
  		  if (encoderR>=(int)(finalAngle*20.57)) break;
  	  }
  }
        htim1.Instance->CCR4 = 143;
        __HAL_TIM_SetCompare(&htim8, TIM_CHANNEL_1, 0);
        __HAL_TIM_SetCompare(&htim8,TIM_CHANNEL_2, 0);
}
void turnRight(float targetAngle, int dirBack){
	float finalAngle = targetAngle;
	encoderL = 0;
	encoderR = 0;
	int left=0, right=0;
  htim1.Instance->CCR4 = 210;
  HAL_Delay(800); osDelay(800);
  //forward
    if (dirBack==0){
    	int left=2800, right=300;
      HAL_GPIO_WritePin(GPIOA, AIN1_Pin, GPIO_PIN_RESET);   // Assuming AIN1 is forward for motor 1
  	  HAL_GPIO_WritePin(GPIOA, AIN2_Pin, GPIO_PIN_SET); // Assuming AIN2 is backward for motor 1
  	  HAL_GPIO_WritePin(GPIOA, BIN1_Pin, GPIO_PIN_RESET);   // Assuming BIN1 is forward for motor 2
  	  HAL_GPIO_WritePin(GPIOA, BIN2_Pin, GPIO_PIN_SET); // Assuming BIN2 is backward for motor 2
	  while(1){
		  __HAL_TIM_SetCompare(&htim8, TIM_CHANNEL_1, right);
		  __HAL_TIM_SetCompare(&htim8, TIM_CHANNEL_2, left);
		  osDelay(10);
  		  if (encoderL>=(int)(finalAngle*22.25*0.9)){
  			  right=0;left=900;
  		  }
  		  if (encoderL>=(int)(finalAngle*22.25))break;
  	  }
    }
    //backward
    else if (dirBack==1){
    	int left=2600, right=300;
      HAL_GPIO_WritePin(GPIOA, AIN1_Pin, GPIO_PIN_SET); // Assuming AIN1 is forward for motor 1
  	  HAL_GPIO_WritePin(GPIOA, AIN2_Pin, GPIO_PIN_RESET);   // Assuming AIN2 is backward for motor 1
  	  HAL_GPIO_WritePin(GPIOA, BIN1_Pin, GPIO_PIN_SET); // Assuming BIN1 is forward for motor 2
  	  HAL_GPIO_WritePin(GPIOA, BIN2_Pin, GPIO_PIN_RESET);   // Assuming BIN2 is backward for motor 2
 	  while(1){
 	  	  __HAL_TIM_SetCompare(&htim8, TIM_CHANNEL_1, right);
 	  	  __HAL_TIM_SetCompare(&htim8, TIM_CHANNEL_2, left);
 		  osDelay(10);
  		  if (encoderL>=(int)(finalAngle*21.88*0.9)){
  			  right=0;left=900;
  		  }
 		  if (encoderL>=(int)(targetAngle*21.88))break;
 	  }
    }
	        htim1.Instance->CCR4 = 130;
	        __HAL_TIM_SetCompare(&htim8, TIM_CHANNEL_1, 0);
	        __HAL_TIM_SetCompare(&htim8,TIM_CHANNEL_2, 0);
}

void maintainStraightPath(int dista){
    // Initialize variables
	htim1.Instance->CCR4 = 139;
    uint8_t uart_buf[20];
    int16_t Data;
    int tempval = 0;
    float ratio = 0.1;
	encoderL = 0; encoderR = 0;
    int setpoint = yawAngle;
    int delta = encoderL - encoderR;
	int totravel = dista/21.0*1550.0;

	//special case for dista <= 10
	if (dista<=10 && motionCommand=='s'){
		while(1){
			pwmValL = 1330; pwmValR = 1275;
			__HAL_TIM_SET_COMPARE(&htim8, TIM_CHANNEL_1, 1275); // Set PWM for motor 1 (adjust value as needed)
			__HAL_TIM_SET_COMPARE(&htim8, TIM_CHANNEL_2, 1330); // Set PWM for motor 2 (adjust value as needed)
			if (2*encoderR>totravel)break;
		}
	    pwmVal_servo = 139;
	    return;
	}
	else if (dista<=10 && motionCommand=='w'){
		while(1){
			pwmValL = 1260; pwmValR = 1260;
			__HAL_TIM_SET_COMPARE(&htim8, TIM_CHANNEL_1, 1260); // Set PWM for motor 1 (adjust value as needed)
			__HAL_TIM_SET_COMPARE(&htim8, TIM_CHANNEL_2, 1260); // Set PWM for motor 2 (adjust value as needed)
			if (2*encoderR>totravel)break;
		}
	    pwmVal_servo = 139;
	    return;
	}

	else{
	    // Main loop to maintain straight path
	    while (1) { // Use an appropriate condition to break out of the loop when needed

	    	//maintain straight line
	    	float correction = adjustServoToCenter(yawAngle, setpoint);
	    	htim1.Instance->CCR4 = (motionCommand=='w') ? 139+1.005*correction : 139-1.005*correction;

	    	//accel (nnnneeeeoooowwwwwwwwwwwwwwwwwwwwwwwwwwwwwwwwww)
	    	if ((motionCommand=='w') && totravel - 2*encoderR > (int)((float)totravel*0.3)){
	    		if (ratio<1.55)ratio+=0.0003;
	            // Apply PWM to both motors to start moving forward
	    		pwmValL = (int)((float)(RPM_LEFT+20)*ratio); pwmValR = (int)((float)(RPM_RIGHT+55)*ratio);
	            __HAL_TIM_SET_COMPARE(&htim8, TIM_CHANNEL_1, pwmValR); // Set PWM for motor 1 (adjust value as needed)
	            __HAL_TIM_SET_COMPARE(&htim8, TIM_CHANNEL_2, pwmValL); // Set PWM for motor 2 (adjust value as needed)
	    	}
	    	else if (motionCommand=='w'){
		    	while(2*encoderR<totravel-222){
	            	ratio=0.8*(float)(totravel - 2*encoderR)/(float)totravel;
	    			// Apply PWM to both motors to start moving forward
	            	pwmValL = (int)((float)(RPM_LEFT+20)*ratio+900.0); pwmValR = (int)((float)(RPM_RIGHT+55)*ratio+900.0);
	    			__HAL_TIM_SET_COMPARE(&htim8, TIM_CHANNEL_1, pwmValR); // Set PWM for motor 1 (adjust value as needed)
	    			__HAL_TIM_SET_COMPARE(&htim8, TIM_CHANNEL_2, pwmValL); // Set PWM for motor 2 (adjust value as needed)
	    			osDelay(50);
	    		}
	    		break;
	    	}

	    	if ((motionCommand=='s') && totravel - 2*encoderR > (int)((float)totravel*0.3)){
	    		if (ratio<1.55)ratio+=0.0003;
	            // Apply PWM to both motors to start moving forward
	    		pwmValL = (int)((float)(RPM_LEFT+20)*ratio); pwmValR = (int)((float)(RPM_RIGHT+50)*ratio);
	            __HAL_TIM_SET_COMPARE(&htim8, TIM_CHANNEL_1, pwmValR); // Set PWM for motor 1 (adjust value as needed)
	            __HAL_TIM_SET_COMPARE(&htim8, TIM_CHANNEL_2, pwmValL); // Set PWM for motor 2 (adjust value as needed)
	    	}
	    	else if (motionCommand=='s'){
	            while(2*encoderR<totravel-222){
	            	ratio=0.8*(float)(totravel - 2*encoderR)/(float)totravel;
	    			// Apply PWM to both motors to start moving forward
		    		pwmValL = (int)((float)(RPM_LEFT+20)*ratio+900.0); pwmValR = (int)((float)(RPM_RIGHT+50)*ratio+900.0);
	    			__HAL_TIM_SET_COMPARE(&htim8, TIM_CHANNEL_1, pwmValR); // Set PWM for motor 1 (adjust value as needed)
	    			__HAL_TIM_SET_COMPARE(&htim8, TIM_CHANNEL_2, pwmValL); // Set PWM for motor 2 (adjust value as needed)
	    			osDelay(50);
	    	    	tempval = encoderR;
	    		}
	    		break;
	    	}
	    }
	}

    pwmVal_servo = 139;
    return;
}

float adjustServoToCenter(float currentAngle, float targetAngle) {
	uint8_t uart_buf[20];
    float error = currentAngle - targetAngle; // Calculate error
    if (fabs(error)<0.05){
    	error=0;
    }

	return error;
}

/* USER CODE END 4 */

void StartDefaultTask(void *argument)
{
  for(;;)
  {
    osDelay(1);
  }
}

void motor(void *argument)
{
  /* USER CODE BEGIN motor */
	uint8_t print2[20];
	HAL_TIM_PWM_Start(&htim1, TIM_CHANNEL_4); // servo motor
	HAL_TIM_PWM_Start(&htim8, TIM_CHANNEL_1); // start up motor 1
	HAL_TIM_PWM_Start(&htim8, TIM_CHANNEL_2); // start up motor 2

	htim1.Instance->CCR4 = 139;

	int initialPwmValue = 500;  // Example initial PWM value, adjust as needed
	HAL_UART_Receive_IT(&huart3, uartRxBuffer, 5);
	 // Set initial PWM value for a smooth start
	__HAL_TIM_SetCompare(&htim8, TIM_CHANNEL_1, initialPwmValue);  // Apply to Motor 1
	__HAL_TIM_SetCompare(&htim8, TIM_CHANNEL_2, initialPwmValue);  // Apply to Motor 2
	uint8_t *status = IMU_Initialise(&imu,&hi2c1,&huart3);
	uint8_t uartbuf [20];

	//  /* Infinite loop */
	 for (;;) {
				  if (commandReceivedFlag) {
					  encoderL = 0;
					  encoderR = 0;
					commandReceivedFlag = 0; // Clear the flag
		            switch (motionCommand) {
		            	case 's':
		                	// check dirCommand
		                	if (dirCommand!='x')break;
		                	htim1.Instance->CCR4 = 139; // Center
		                	osDelay(500);

		            		// Set motor direction to backward
							// Setting GPIO Pins
		            		HAL_GPIO_WritePin(GPIOA, AIN1_Pin, GPIO_PIN_SET); // Assuming AIN1 is forward for motor 1
		            		HAL_GPIO_WritePin(GPIOA, AIN2_Pin, GPIO_PIN_RESET);   // Assuming AIN2 is backward for motor 1
		            		HAL_GPIO_WritePin(GPIOA, BIN1_Pin, GPIO_PIN_SET); // Assuming BIN1 is forward for motor 2
		            		HAL_GPIO_WritePin(GPIOA, BIN2_Pin, GPIO_PIN_RESET);   // Assuming BIN2 is backward for motor 2

		            		// Apply PWM to both motors to start moving backward
		            		pwmValL = (RPM_LEFT+295)*0.1; pwmValR = (RPM_RIGHT+35)*0.1;
		            		__HAL_TIM_SET_COMPARE(&htim8, TIM_CHANNEL_1, (RPM_RIGHT+35)*0.1); // Set PWM for motor 1 (adjust value as needed)
		            		__HAL_TIM_SET_COMPARE(&htim8, TIM_CHANNEL_2, (RPM_LEFT+295)*0.1); // Set PWM for motor 2 (adjust value as needed)

		            		maintainStraightPath(distCommand);

		                	// Motor Stop
		                	// Apply PWM to both motors to stop moving
							__HAL_TIM_SET_COMPARE(&htim8, TIM_CHANNEL_1, 0); // Set PWM for motor 1 (adjust value as needed)
							__HAL_TIM_SET_COMPARE(&htim8, TIM_CHANNEL_2, 0); // Set PWM for motor 2 (adjust value as needed)
		                    pwmValL = 0; pwmValR = 0;
		                    HAL_UART_Transmit(&huart3, "ACK", 3, HAL_MAX_DELAY);
			                    HAL_Delay(100);
							break;
		                case 'w':
		                	// check dirCommand
		                	if (dirCommand!='x')break;
		                	htim1.Instance->CCR4 = 139; // Center
		                	osDelay(500);

		                	// Set motor direction to forward
							// Setting GPIO Pins
		                    HAL_GPIO_WritePin(GPIOA, AIN1_Pin, GPIO_PIN_RESET);   // Assuming AIN1 is forward for motor 1
		                    HAL_GPIO_WritePin(GPIOA, AIN2_Pin, GPIO_PIN_SET); // Assuming AIN2 is backward for motor 1
		                    HAL_GPIO_WritePin(GPIOA, BIN1_Pin, GPIO_PIN_RESET);   // Assuming BIN1 is forward for motor 2
		                    HAL_GPIO_WritePin(GPIOA, BIN2_Pin, GPIO_PIN_SET); // Assuming BIN2 is backward for motor 2

		                    // Apply PWM to both motors to start moving forward
		                    pwmValL = (RPM_LEFT)*0.1; pwmValR = (RPM_RIGHT+77)*0.1;
		                    __HAL_TIM_SET_COMPARE(&htim8, TIM_CHANNEL_1, pwmValR); // Set PWM for motor 1 (adjust value as needed)
		                    __HAL_TIM_SET_COMPARE(&htim8, TIM_CHANNEL_2, pwmValL); // Set PWM for motor 2 (adjust value as needed)

		                    maintainStraightPath(distCommand);
		                	// Motor Stop
		                	// Apply PWM to both motors to stop moving
							__HAL_TIM_SET_COMPARE(&htim8, TIM_CHANNEL_1, 0); // Set PWM for motor 1 (adjust value as needed)
							__HAL_TIM_SET_COMPARE(&htim8, TIM_CHANNEL_2, 0); // Set PWM for motor 2 (adjust value as needed)
							pwmValL = 0; pwmValR = 0;

		                    HAL_UART_Transmit(&huart3, "ACK", 3, HAL_MAX_DELAY);

		                    HAL_Delay(100);
		                    break;

		                case 't':
		                	htim1.Instance->CCR4 = 139;
		                	osDelay(500);
		                	if (dirCommand=='a'){
		                		htim1.Instance->CCR4 = 90;
		                	}
		                	else if (dirCommand=='d'){
		                		  htim1.Instance->CCR4 = 210;
		                	}
		                	break;

		                case 'f': // forward angle rotation
		                	// check left/right
		                	if (dirCommand=='a'){
		                		turnLeft(distCommand,0);
		                		HAL_UART_Transmit(&huart3, "ACK", 3, HAL_MAX_DELAY);
		                		HAL_Delay(100);
		                	}
		                	else if (dirCommand=='d'){
		                		turnRight(distCommand,0);

		                		HAL_UART_Transmit(&huart3, "ACK", 3, HAL_MAX_DELAY);
		                		HAL_Delay(100);
		                	}
							break;

		                case 'b': // backward angle rotation
		                	// check left/right
		                	if (dirCommand=='a'){
		                		turnLeft(distCommand,1);
		                		HAL_UART_Transmit(&huart3, "ACK", 3, HAL_MAX_DELAY);
		                		HAL_Delay(100);
		                	}
		                	else if (dirCommand=='d'){
		                		turnRight(distCommand,1);
		                		HAL_UART_Transmit(&huart3, "ACK", 3, HAL_MAX_DELAY);
		                		HAL_Delay(100);
		                	}
							break;

		                default:
		                	// Motor Stop
		                	// Apply PWM to both motors to stop moving
							__HAL_TIM_SET_COMPARE(&htim8, TIM_CHANNEL_1, 0); // Set PWM for motor 1 (adjust value as needed)
							__HAL_TIM_SET_COMPARE(&htim8, TIM_CHANNEL_2, 0); // Set PWM for motor 2 (adjust value as needed)

		                    break;

		        }
		    }
			osDelay(1000);

		  }
  /* USER CODE END motor */
}

void encoder(void *argument)
{
  /* USER CODE BEGIN encoder */
    HAL_TIM_Encoder_Start(&htim2, TIM_CHANNEL_ALL); // Start encoder for Motor 1
    HAL_TIM_Encoder_Start(&htim3, TIM_CHANNEL_ALL); // Start encoder for Motor 2

    int cnt_motor1=0,cnt_motor2=0;

    __HAL_TIM_SET_COUNTER(&htim2, 0); // Reset counter for Motor 1
    __HAL_TIM_SET_COUNTER(&htim3, 0); // Reset counter for Motor 2
    uint32_t tick = HAL_GetTick();

    /* Infinite loop */
    for (;;)
    {
        if (HAL_GetTick() - tick > 5L) // Update every 10 milliseconds
        {
            //motor 1 (R)
        	cnt_motor1 = __HAL_TIM_GET_COUNTER(&htim2);
        	__HAL_TIM_SET_COUNTER(&htim2, 0); // Reset counter for Motor 1
            if (cnt_motor1>32000){
            	//backwards (overflow)
            	encoderR += 0.5*(65536 - cnt_motor1);
            }
            else{
            	//forwards
            	encoderR += 0.5*cnt_motor1;
            }

            //motor 2 (L)
        	cnt_motor2 = __HAL_TIM_GET_COUNTER(&htim3);
        	__HAL_TIM_SET_COUNTER(&htim3, 0); // Reset counter for Motor 2
            if (cnt_motor2>32000){
            	//backwards (overflow)
            	encoderL += 65536 - cnt_motor2;
            }
            else{
            	//forwards
            	encoderL += cnt_motor2;
            }

            tick = HAL_GetTick();
        }
    }
  /* USER CODE END encoder */
}

void Gyro(void *argument)
{
  /* USER CODE BEGIN Gyro */
	  uint8_t uart_buf[20];
	  prev_time_elapsed = HAL_GetTick();

  /* Infinite loop */
  for(;;)
  {
    	  if(dma_transfer_complete==0){
              ret = HAL_I2C_Mem_Read_DMA(imu.i2cHandle, IMU_ADDR,GYRO_ZOUT_H,I2C_MEMADD_SIZE_8BIT,rawData,2);
              if(ret == HAL_OK)
              dma_transfer_complete = 2;
            }
          if (dma_transfer_complete == 2) {
    			time_elapsed = HAL_GetTick();
    			time_difference = time_elapsed - prev_time_elapsed; // Calculate time difference between readings
    			Data = (int16_t)(rawData[0] << 8 | rawData[1]); // Combine high and low bytes

    			// Calculate new yaw angle based on gyro data
    			yawAngle += (float)((time_difference * (Data - 240.0) / 131.0)) / 1000.0;

    			// Offsetting the drift (derived empirically)
    			yawAngle -= (float)(time_difference*0.075/1000.0);

           dma_transfer_complete = 0;
           prev_time_elapsed = time_elapsed;
          }

  }
  /* USER CODE END Gyro */
}

void Error_Handler(void)
{
  __disable_irq();
  while (1)
  {
  }
}
